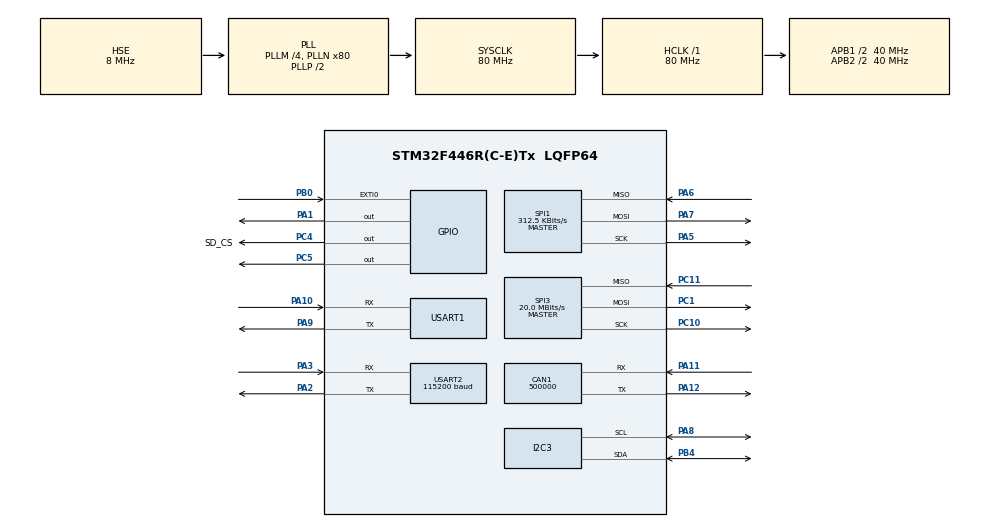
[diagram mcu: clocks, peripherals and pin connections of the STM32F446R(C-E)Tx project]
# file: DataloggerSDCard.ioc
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CAN1.BS1=CAN_BS1_3TQ
CAN1.CalculateBaudRate=500000
CAN1.CalculateTimeBit=2000
CAN1.CalculateTimeQuantum=400.0
CAN1.Mode=CAN_MODE_LOOPBACK
CAN1.TTCM=DISABLE
FATFS._MAX_SS=4096
FATFS._USE_LFN=1
Mcu.Family=STM32F4
Mcu.Name=STM32F446R(C-E)Tx
Mcu.Package=LQFP64
NVIC.CAN1_RX0_IRQn=true\:0\:0\:false\:false\:true\:true\:true\:true
NVIC.CAN1_RX1_IRQn=true\:0\:0\:false\:false\:true\:true\:true\:true
NVIC.PriorityGroup=NVIC_PRIORITYGROUP_4
PA1.Signal=GPIO_Output
PA10.Mode=Asynchronous
PA10.Signal=USART1_RX
PA11.Mode=CAN_Activate
PA11.Signal=CAN1_RX
PA12.Mode=CAN_Activate
PA12.Signal=CAN1_TX
PA13.Mode=Serial_Wire
PA13.Signal=SYS_JTMS-SWDIO
PA14.Mode=Serial_Wire
PA14.Signal=SYS_JTCK-SWCLK
PA2.Mode=Asynchronous
PA2.Signal=USART2_TX
PA3.Mode=Asynchronous
PA3.Signal=USART2_RX
PA5.Mode=Full_Duplex_Master
PA5.Signal=SPI1_SCK
PA6.Mode=Full_Duplex_Master
PA6.Signal=SPI1_MISO
PA7.Mode=Full_Duplex_Master
PA7.Signal=SPI1_MOSI
PA8.Mode=I2C
PA8.Signal=I2C3_SCL
PA9.Mode=Asynchronous
PA9.Signal=USART1_TX
PB0.Signal=GPXTI0
PB10.Signal=SPI2_SCK
PB14.Signal=SPI2_MISO
PB4.Mode=I2C
PB4.Signal=I2C3_SDA
PC1.Mode=Full_Duplex_Master
PC1.Signal=SPI3_MOSI
PC10.Mode=Full_Duplex_Master
PC10.Signal=SPI3_SCK
PC11.Mode=Full_Duplex_Master
PC11.Signal=SPI3_MISO
PC4.GPIO_Label=SD_CS
PC4.GPIO_Speed=GPIO_SPEED_FREQ_MEDIUM
PC4.PinState=GPIO_PIN_RESET
PC4.Signal=GPIO_Output
PC5.Signal=GPIO_Output
PH0-OSC_IN.Mode=HSE-External-Oscillator
PH0-OSC_IN.Signal=RCC_OSC_IN
PH1-OSC_OUT.Mode=HSE-External-Oscillator
PH1-OSC_OUT.Signal=RCC_OSC_OUT
ProjectManager.HeapSize=0x400
ProjectManager.StackSize=0x400
ProjectManager.TargetToolchain=STM32CubeIDE
RCC.AHBFreq_Value=80000000
RCC.APB1CLKDivider=RCC_HCLK_DIV2
RCC.APB1Freq_Value=40000000
RCC.APB1TimFreq_Value=80000000
RCC.APB2CLKDivider=RCC_HCLK_DIV2
RCC.APB2Freq_Value=40000000
RCC.APB2TimFreq_Value=80000000
RCC.CortexFreq_Value=80000000
RCC.HCLKFreq_Value=80000000
RCC.HSE_VALUE=8000000
RCC.PLLM=4
RCC.PLLN=80
RCC.PLLSourceVirtual=RCC_PLLSOURCE_HSE
RCC.SYSCLKFreq_VALUE=80000000
RCC.SYSCLKSource=RCC_SYSCLKSOURCE_PLLCLK
RCC.USBFreq_Value=80000000
RCC.VCOOutputFreq_Value=160000000
SPI1.BaudRatePrescaler=SPI_BAUDRATEPRESCALER_128
SPI1.CalculateBaudRate=312.5 KBits/s
SPI1.Direction=SPI_DIRECTION_2LINES
SPI1.Mode=SPI_MODE_MASTER
SPI1.VirtualType=VM_MASTER
SPI3.CalculateBaudRate=20.0 MBits/s
SPI3.Direction=SPI_DIRECTION_2LINES
SPI3.Mode=SPI_MODE_MASTER
SPI3.VirtualType=VM_MASTER
USART1.VirtualMode=VM_ASYNC
USART2.BaudRate=115200
USART2.VirtualMode=VM_ASYNC
VP_FATFS_VS_Generic.Mode=User_defined
board=custom

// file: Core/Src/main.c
/* USER CODE BEGIN Header */
/**
  ******************************************************************************
  * @file           : main.c
  * @brief          : Main program body
  ******************************************************************************
  * @attention
  *
  * Copyright (c) 2023 STMicroelectronics.
  * All rights reserved.
  *
  * This software is licensed under terms that can be found in the LICENSE file
  * in the root directory of this software component.
  * If no LICENSE file comes with this software, it is provided AS-IS.
  *
  *
  *SD CARD PINOUTS
  *SCK - PA5
  *MISO - PA6
  *MOSI - PA7
  *CS - PC4
  *CAN TX - PA12
  *CAN RX - PA11
  ******************************************************************************
  */
/* USER CODE END Header */
#include "main.h"
#include "fatfs.h"

/* USER CODE BEGIN Includes */
#include <string.h>
#include <stdio.h>
#include <stdbool.h>
/* USER CODE END Includes */

CAN_HandleTypeDef hcan1;

I2C_HandleTypeDef hi2c3;

SPI_HandleTypeDef hspi1;
SPI_HandleTypeDef hspi3;

UART_HandleTypeDef huart1;
UART_HandleTypeDef huart2;

void SystemClock_Config(void);
static void MX_GPIO_Init(void);
static void MX_SPI1_Init(void);
static void MX_USART2_UART_Init(void);
static void MX_CAN1_Init(void);
static void MX_I2C3_Init(void);
static void MX_USART1_UART_Init(void);
static void MX_SPI3_Init(void);

/* USER CODE BEGIN 0 */

circBuffer FEBBuffer;
/* USER CODE END 0 */

int main(void)
{

  /* MCU Configuration--------------------------------------------------------*/

  /* Reset of all peripherals, Initializes the Flash interface and the Systick. */
  HAL_Init();

  /* Configure the system clock */
  SystemClock_Config();

  /* Initialize all configured peripherals */
  MX_GPIO_Init();
  MX_SPI1_Init();
  MX_FATFS_Init();
  MX_USART2_UART_Init();
  MX_CAN1_Init();
  MX_I2C3_Init();
  MX_USART1_UART_Init();
  MX_SPI3_Init();
  /* USER CODE BEGIN 2 */

  FEB_circBuf_init(&FEBBuffer);

  FEB_CAN_Init();

  bool useCAN = true;
  bool useXBee = false;
  /* USER CODE END 2 */

  /* Infinite loop */
  /* USER CODE BEGIN WHILE */
  while (1)
  {
	// Toggle CAN for testing
	if (!useCAN) {
		//Write to buf
	    FEB_circBuf_dummy(&FEBBuffer);
	} else {
		FEB_CAN_Transmit_Test_Data(&hcan1);
	}

	// Update buf and write to sd card
    FEB_circBuf_read(&FEBBuffer);

    //Toggle XBee
    if (useXBee) {
    	FEB_xbee_loop();
    }

	HAL_Delay(200);

    /* USER CODE END WHILE */

}
}

void SystemClock_Config(void)
{
  RCC_OscInitTypeDef RCC_OscInitStruct = {0};
  RCC_ClkInitTypeDef RCC_ClkInitStruct = {0};

  /** Configure the main internal regulator output voltage
  */
  __HAL_RCC_PWR_CLK_ENABLE();
  __HAL_PWR_VOLTAGESCALING_CONFIG(PWR_REGULATOR_VOLTAGE_SCALE3);

  /** Initializes the RCC Oscillators according to the specified parameters
  * in the RCC_OscInitTypeDef structure.
  */
  RCC_OscInitStruct.OscillatorType = RCC_OSCILLATORTYPE_HSE;
  RCC_OscInitStruct.HSEState = RCC_HSE_ON;
  RCC_OscInitStruct.PLL.PLLState = RCC_PLL_ON;
  RCC_OscInitStruct.PLL.PLLSource = RCC_PLLSOURCE_HSE;
  RCC_OscInitStruct.PLL.PLLM = 4;
  RCC_OscInitStruct.PLL.PLLN = 80;
  RCC_OscInitStruct.PLL.PLLP = RCC_PLLP_DIV2;
  RCC_OscInitStruct.PLL.PLLQ = 2;
  RCC_OscInitStruct.PLL.PLLR = 2;
  if (HAL_RCC_OscConfig(&RCC_OscInitStruct) != HAL_OK)
  {
    Error_Handler();
  }

  /** Initializes the CPU, AHB and APB buses clocks
  */
  RCC_ClkInitStruct.ClockType = RCC_CLOCKTYPE_HCLK|RCC_CLOCKTYPE_SYSCLK
                              |RCC_CLOCKTYPE_PCLK1|RCC_CLOCKTYPE_PCLK2;
  RCC_ClkInitStruct.SYSCLKSource = RCC_SYSCLKSOURCE_PLLCLK;
  RCC_ClkInitStruct.AHBCLKDivider = RCC_SYSCLK_DIV1;
  RCC_ClkInitStruct.APB1CLKDivider = RCC_HCLK_DIV2;
  RCC_ClkInitStruct.APB2CLKDivider = RCC_HCLK_DIV2;

  if (HAL_RCC_ClockConfig(&RCC_ClkInitStruct, FLASH_LATENCY_2) != HAL_OK)
  {
    Error_Handler();
  }
}

static void MX_CAN1_Init(void)
{

  hcan1.Instance = CAN1;
  hcan1.Init.Prescaler = 16;
  hcan1.Init.Mode = CAN_MODE_LOOPBACK;
  hcan1.Init.SyncJumpWidth = CAN_SJW_1TQ;
  hcan1.Init.TimeSeg1 = CAN_BS1_3TQ;
  hcan1.Init.TimeSeg2 = CAN_BS2_1TQ;
  hcan1.Init.TimeTriggeredMode = DISABLE;
  hcan1.Init.AutoBusOff = DISABLE;
  hcan1.Init.AutoWakeUp = DISABLE;
  hcan1.Init.AutoRetransmission = DISABLE;
  hcan1.Init.ReceiveFifoLocked = DISABLE;
  hcan1.Init.TransmitFifoPriority = DISABLE;
  if (HAL_CAN_Init(&hcan1) != HAL_OK)
  {
    Error_Handler();
  }

}

static void MX_I2C3_Init(void)
{

  hi2c3.Instance = I2C3;
  hi2c3.Init.ClockSpeed = 100000;
  hi2c3.Init.DutyCycle = I2C_DUTYCYCLE_2;
  hi2c3.Init.OwnAddress1 = 0;
  hi2c3.Init.AddressingMode = I2C_ADDRESSINGMODE_7BIT;
  hi2c3.Init.DualAddressMode = I2C_DUALADDRESS_DISABLE;
  hi2c3.Init.OwnAddress2 = 0;
  hi2c3.Init.GeneralCallMode = I2C_GENERALCALL_DISABLE;
  hi2c3.Init.NoStretchMode = I2C_NOSTRETCH_DISABLE;
  if (HAL_I2C_Init(&hi2c3) != HAL_OK)
  {
    Error_Handler();
  }

}

static void MX_SPI1_Init(void)
{

  /* SPI1 parameter configuration*/
  hspi1.Instance = SPI1;
  hspi1.Init.Mode = SPI_MODE_MASTER;
  hspi1.Init.Direction = SPI_DIRECTION_2LINES;
  hspi1.Init.DataSize = SPI_DATASIZE_8BIT;
  hspi1.Init.CLKPolarity = SPI_POLARITY_LOW;
  hspi1.Init.CLKPhase = SPI_PHASE_1EDGE;
  hspi1.Init.NSS = SPI_NSS_SOFT;
  hspi1.Init.BaudRatePrescaler = SPI_BAUDRATEPRESCALER_128;
  hspi1.Init.FirstBit = SPI_FIRSTBIT_MSB;
  hspi1.Init.TIMode = SPI_TIMODE_DISABLE;
  hspi1.Init.CRCCalculation = SPI_CRCCALCULATION_DISABLE;
  hspi1.Init.CRCPolynomial = 10;
  if (HAL_SPI_Init(&hspi1) != HAL_OK)
  {
    Error_Handler();
  }

}

static void MX_SPI3_Init(void)
{

  /* SPI3 parameter configuration*/
  hspi3.Instance = SPI3;
  hspi3.Init.Mode = SPI_MODE_MASTER;
  hspi3.Init.Direction = SPI_DIRECTION_2LINES;
  hspi3.Init.DataSize = SPI_DATASIZE_8BIT;
  hspi3.Init.CLKPolarity = SPI_POLARITY_LOW;
  hspi3.Init.CLKPhase = SPI_PHASE_1EDGE;
  hspi3.Init.NSS = SPI_NSS_SOFT;
  hspi3.Init.BaudRatePrescaler = SPI_BAUDRATEPRESCALER_2;
  hspi3.Init.FirstBit = SPI_FIRSTBIT_MSB;
  hspi3.Init.TIMode = SPI_TIMODE_DISABLE;
  hspi3.Init.CRCCalculation = SPI_CRCCALCULATION_DISABLE;
  hspi3.Init.CRCPolynomial = 10;
  if (HAL_SPI_Init(&hspi3) != HAL_OK)
  {
    Error_Handler();
  }

}

static void MX_USART1_UART_Init(void)
{

  huart1.Instance = USART1;
  huart1.Init.BaudRate = 115200;
  huart1.Init.WordLength = UART_WORDLENGTH_8B;
  huart1.Init.StopBits = UART_STOPBITS_1;
  huart1.Init.Parity = UART_PARITY_NONE;
  huart1.Init.Mode = UART_MODE_TX_RX;
  huart1.Init.HwFlowCtl = UART_HWCONTROL_NONE;
  huart1.Init.OverSampling = UART_OVERSAMPLING_16;
  if (HAL_UART_Init(&huart1) != HAL_OK)
  {
    Error_Handler();
  }

}

static void MX_USART2_UART_Init(void)
{

  huart2.Instance = USART2;
  huart2.Init.BaudRate = 115200;
  huart2.Init.WordLength = UART_WORDLENGTH_8B;
  huart2.Init.StopBits = UART_STOPBITS_1;
  huart2.Init.Parity = UART_PARITY_NONE;
  huart2.Init.Mode = UART_MODE_TX_RX;
  huart2.Init.HwFlowCtl = UART_HWCONTROL_NONE;
  huart2.Init.OverSampling = UART_OVERSAMPLING_16;
  if (HAL_UART_Init(&huart2) != HAL_OK)
  {
    Error_Handler();
  }

}

static void MX_GPIO_Init(void)
{
  GPIO_InitTypeDef GPIO_InitStruct = {0};

  /* GPIO Ports Clock Enable */
  __HAL_RCC_GPIOH_CLK_ENABLE();
  __HAL_RCC_GPIOC_CLK_ENABLE();
  __HAL_RCC_GPIOA_CLK_ENABLE();
  __HAL_RCC_GPIOB_CLK_ENABLE();

  /*Configure GPIO pin Output Level */
  HAL_GPIO_WritePin(GPIOA, GPIO_PIN_1, GPIO_PIN_RESET);

  /*Configure GPIO pin Output Level */
  HAL_GPIO_WritePin(GPIOC, SD_CS_Pin|GPIO_PIN_5, GPIO_PIN_RESET);

  /*Configure GPIO pin : PA1 */
  GPIO_InitStruct.Pin = GPIO_PIN_1;
  GPIO_InitStruct.Mode = GPIO_MODE_OUTPUT_PP;
  GPIO_InitStruct.Pull = GPIO_NOPULL;
  GPIO_InitStruct.Speed = GPIO_SPEED_FREQ_LOW;
  HAL_GPIO_Init(GPIOA, &GPIO_InitStruct);

  /*Configure GPIO pin : SD_CS_Pin */
  GPIO_InitStruct.Pin = SD_CS_Pin;
  GPIO_InitStruct.Mode = GPIO_MODE_OUTPUT_PP;
  GPIO_InitStruct.Pull = GPIO_NOPULL;
  GPIO_InitStruct.Speed = GPIO_SPEED_FREQ_MEDIUM;
  HAL_GPIO_Init(SD_CS_GPIO_Port, &GPIO_InitStruct);

  /*Configure GPIO pin : PC5 */
  GPIO_InitStruct.Pin = GPIO_PIN_5;
  GPIO_InitStruct.Mode = GPIO_MODE_OUTPUT_PP;
  GPIO_InitStruct.Pull = GPIO_NOPULL;
  GPIO_InitStruct.Speed = GPIO_SPEED_FREQ_LOW;
  HAL_GPIO_Init(GPIOC, &GPIO_InitStruct);

  /*Configure GPIO pin : PB0 */
  GPIO_InitStruct.Pin = GPIO_PIN_0;
  GPIO_InitStruct.Mode = GPIO_MODE_IT_RISING;
  GPIO_InitStruct.Pull = GPIO_NOPULL;
  HAL_GPIO_Init(GPIOB, &GPIO_InitStruct);

  /*Configure GPIO pins : PB10 PB14 */
  GPIO_InitStruct.Pin = GPIO_PIN_10|GPIO_PIN_14;
  GPIO_InitStruct.Mode = GPIO_MODE_AF_PP;
  GPIO_InitStruct.Pull = GPIO_NOPULL;
  GPIO_InitStruct.Speed = GPIO_SPEED_FREQ_VERY_HIGH;
  GPIO_InitStruct.Alternate = GPIO_AF5_SPI2;
  HAL_GPIO_Init(GPIOB, &GPIO_InitStruct);

}

void Error_Handler(void)
{
  __disable_irq();
  while (1)
  {
  }
}
